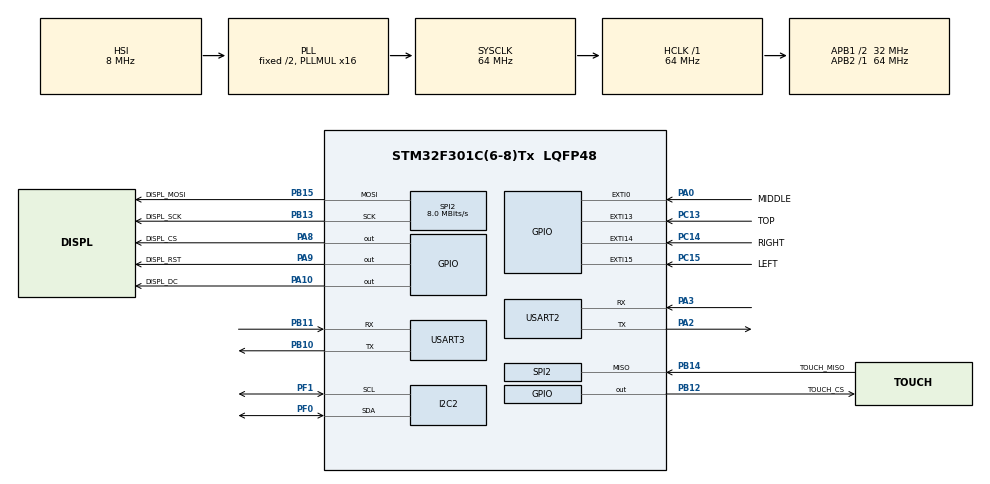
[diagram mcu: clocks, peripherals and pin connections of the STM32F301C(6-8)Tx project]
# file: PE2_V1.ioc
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Mcu.Family=STM32F3
Mcu.Name=STM32F301C(6-8)Tx
Mcu.Package=LQFP48
NVIC.EXTI0_IRQn=true\:0\:0\:false\:false\:true\:true\:true\:true
NVIC.EXTI15_10_IRQn=true\:0\:0\:false\:false\:true\:true\:true\:true
NVIC.PriorityGroup=NVIC_PRIORITYGROUP_4
PA0.GPIO_Label=MIDDLE
PA0.GPIO_ModeDefaultEXTI=GPIO_MODE_IT_FALLING
PA0.GPIO_PuPd=GPIO_PULLUP
PA0.Signal=GPXTI0
PA10.GPIO_Label=DISPL_DC
PA10.Signal=GPIO_Output
PA13.Mode=Trace_Asynchronous_SW
PA13.Signal=SYS_JTMS-SWDIO
PA14.Mode=Trace_Asynchronous_SW
PA14.Signal=SYS_JTCK-SWCLK
PA2.Mode=Asynchronous
PA2.Signal=USART2_TX
PA3.Mode=Asynchronous
PA3.Signal=USART2_RX
PA8.GPIO_Label=DISPL_CS
PA8.Signal=GPIO_Output
PA9.GPIO_Label=DISPL_RST
PA9.Signal=GPIO_Output
PB10.Mode=Asynchronous
PB10.Signal=USART3_TX
PB11.Mode=Asynchronous
PB11.Signal=USART3_RX
PB12.GPIO_Label=TOUCH_CS
PB12.Signal=GPIO_Output
PB13.GPIO_Label=DISPL_SCK
PB13.Mode=Full_Duplex_Master
PB13.Signal=SPI2_SCK
PB14.GPIO_Label=TOUCH_MISO
PB14.Mode=Full_Duplex_Master
PB14.Signal=SPI2_MISO
PB15.GPIO_Label=DISPL_MOSI
PB15.Mode=Full_Duplex_Master
PB15.Signal=SPI2_MOSI
PB3.Mode=Trace_Asynchronous_SW
PB3.Signal=SYS_JTDO-TRACESWO
PC13.GPIO_Label=TOP
PC13.GPIO_ModeDefaultEXTI=GPIO_MODE_IT_FALLING
PC13.GPIO_PuPd=GPIO_PULLUP
PC13.Signal=GPXTI13
PC14\ -\ OSC32_IN.GPIO_Label=RIGHT
PC14\ -\ OSC32_IN.GPIO_ModeDefaultEXTI=GPIO_MODE_IT_FALLING
PC14\ -\ OSC32_IN.GPIO_PuPd=GPIO_PULLUP
PC14\ -\ OSC32_IN.Signal=GPXTI14
PC15\ -\ OSC32_OUT.GPIO_Label=LEFT
PC15\ -\ OSC32_OUT.GPIO_ModeDefaultEXTI=GPIO_MODE_IT_FALLING
PC15\ -\ OSC32_OUT.GPIO_PuPd=GPIO_PULLUP
PC15\ -\ OSC32_OUT.Signal=GPXTI15
PF0-OSC_IN.GPIO_Pu=GPIO_PULLUP
PF0-OSC_IN.GPIO_Speed=GPIO_SPEED_FREQ_HIGH
PF0-OSC_IN.Mode=I2C
PF0-OSC_IN.Signal=I2C2_SDA
PF1-OSC_OUT.GPIO_Pu=GPIO_PULLUP
PF1-OSC_OUT.GPIO_Speed=GPIO_SPEED_FREQ_HIGH
PF1-OSC_OUT.Mode=I2C
PF1-OSC_OUT.Signal=I2C2_SCL
ProjectManager.HeapSize=0x200
ProjectManager.StackSize=0x400
ProjectManager.TargetToolchain=STM32CubeIDE
RCC.AHBFreq_Value=64000000
RCC.APB1CLKDivider=RCC_HCLK_DIV2
RCC.APB1Freq_Value=32000000
RCC.APB1TimFreq_Value=64000000
RCC.APB2Freq_Value=64000000
RCC.APB2TimFreq_Value=64000000
RCC.CortexFreq_Value=64000000
RCC.HCLKFreq_Value=64000000
RCC.HSE_VALUE=8000000
RCC.HSI_VALUE=8000000
RCC.LSE_VALUE=32768
RCC.PLLMUL=RCC_PLL_MUL16
RCC.SYSCLKFreq_VALUE=64000000
RCC.SYSCLKSourceVirtual=RCC_SYSCLKSOURCE_PLLCLK
SPI2.BaudRatePrescaler=SPI_BAUDRATEPRESCALER_4
SPI2.CalculateBaudRate=8.0 MBits/s
SPI2.DataSize=SPI_DATASIZE_8BIT
SPI2.Direction=SPI_DIRECTION_2LINES
SPI2.Mode=SPI_MODE_MASTER
SPI2.VirtualType=VM_MASTER
USART2.VirtualMode-Asynchronous=VM_ASYNC
USART3.VirtualMode-Asynchronous=VM_ASYNC
board=custom

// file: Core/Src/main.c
/* USER CODE BEGIN Header */
/**
  ******************************************************************************
  * @file           : main.c
  * @brief          : Main program body
  ******************************************************************************
  * @attention
  *
  * Copyright (c) 2024 STMicroelectronics.
  * All rights reserved.
  *
  * This software is licensed under terms that can be found in the LICENSE file
  * in the root directory of this software component.
  * If no LICENSE file comes with this software, it is provided AS-IS.
  *
  ******************************************************************************
  */
/* USER CODE END Header */
#include "main.h"

/* USER CODE BEGIN Includes */
#include "game.h"
#include <errno.h>
#include <sys/stat.h>
#include <sys/times.h>
#include <sys/unistd.h>
#include <string.h>
#include <stdarg.h>
#include <math.h>
/* USER CODE END Includes */

I2C_HandleTypeDef hi2c2;

SPI_HandleTypeDef hspi2;

UART_HandleTypeDef huart2;
UART_HandleTypeDef huart3;

/* USER CODE BEGIN PV */

char i2cdata[2];
int16_t gx = 0;
int16_t ax = 0;
int16_t gy = 0;
int16_t ay = 0;
int16_t gz = 0;
int16_t az = 0;

float angleX = 0.0;
float angleY = 0.0;
float angleZ = 0.0;

#define ADDR_R 0xD0
#define ADDR_W 0xD1
#define REG_WHOAMI 0x75

#define REG_PWR_MGMT 0x6B
#define REG_SMPLRT_DIV 0x19
#define REG_GYRO_CONF 0x1B
#define REG_ACCEL_CONF 0x1C

#define REG_GYRO_XOUT158 0x43
#define REG_GYRO_XOUT70 0x44
#define REG_GYRO_YOUT158 0x45
#define REG_GYRO_YOUT70 0x46
#define REG_GYRO_ZOUT158 0x47
#define REG_GYRO_ZOUT70 0x48

#define REG_ACCEL_XOUT158 0x3B
#define REG_ACCEL_XOUT70 0x3C
#define REG_ACCEL_YOUT158 0x3D
#define REG_ACCEL_YOUT70 0x3E
#define REG_ACCEL_ZOUT158 0x3F
#define REG_ACCEL_ZOUT70 0x40
/* USER CODE END PV */

void SystemClock_Config(void);
static void MX_GPIO_Init(void);
static void MX_I2C2_Init(void);
static void MX_SPI2_Init(void);
static void MX_USART2_UART_Init(void);
static void MX_USART3_UART_Init(void);

/* USER CODE BEGIN 0 */
uint8_t key = 0;
int16_t angle = 90;
uint32_t millis = 0;
uint32_t premillis = 0;

int _write(int file, char *ptr, int len) {
    HAL_StatusTypeDef xStatus;
    switch (file) {
    case STDOUT_FILENO: /*stdout*/
		xStatus = HAL_UART_Transmit(&huart3, (uint8_t*)ptr, len, HAL_MAX_DELAY);
		if (xStatus != HAL_OK) {
			errno = EIO;
			return -1;
		}
        break;
    case STDERR_FILENO: /* stderr */
		xStatus = HAL_UART_Transmit(&huart3, (uint8_t*)ptr, len, HAL_MAX_DELAY);
		if (xStatus != HAL_OK) {
			errno = EIO;
			return -1;
		}
        break;
    default:
        errno = EBADF;
        return -1;
    }
    return len;
}

uint8_t read_MPU_mem(uint8_t reg_addr){
	uint8_t data;
	if(HAL_I2C_Mem_Read(&hi2c2, ADDR_R, reg_addr, 1, &data, 1, 100) == HAL_OK){
		return data;
	}
	else{
		printf("mem not read\r\n");
	}
}

void write_MPU_mem(uint8_t reg_addr, uint8_t data){
    if(HAL_I2C_Mem_Write(&hi2c2, ADDR_W, reg_addr, 1, &data, 1, 100) != HAL_OK){
        printf("mem not written\r\n");
    }
}

void read_MPU(){
	uint8_t LSByte = 1;
	uint8_t MSByte = 1;

	MSByte = read_MPU_mem(REG_GYRO_XOUT158);
	LSByte = read_MPU_mem(REG_GYRO_XOUT70);

	gx = ((int16_t)((MSByte << 8) | LSByte)) / 131 + 2;

	MSByte = read_MPU_mem(REG_GYRO_YOUT158);
	LSByte = read_MPU_mem(REG_GYRO_YOUT70);

	gy = ((int16_t)((MSByte << 8) | LSByte)) / 131;

	MSByte = read_MPU_mem(REG_GYRO_ZOUT158);
	LSByte = read_MPU_mem(REG_GYRO_ZOUT70);

	gz = ((int16_t)((MSByte << 8) | LSByte)) / 131 + 1;

	MSByte = read_MPU_mem(REG_ACCEL_XOUT158);
	LSByte = read_MPU_mem(REG_ACCEL_XOUT70);

	ax = ((int16_t)((MSByte << 8) | LSByte)) / 16384;

	MSByte = read_MPU_mem(REG_ACCEL_YOUT158);
	LSByte = read_MPU_mem(REG_ACCEL_YOUT70);

	ay = ((int16_t)((MSByte << 8) | LSByte)) / 16384;

	MSByte = read_MPU_mem(REG_ACCEL_ZOUT158);
	LSByte = read_MPU_mem(REG_ACCEL_ZOUT70);

	az = ((int16_t)((MSByte << 8) | LSByte)) / 16384;
}

static float wrap(float angle,float limit){
  while (angle >  limit) angle -= 2*limit;
  while (angle < -limit) angle += 2*limit;
  return angle;
}

void update_MPU_vars(){
	read_MPU();

	float sgZ = az<0 ? -1 : 1; // allow one angle to go from -180 to +180 degrees
	float angleAccX =   atan2(ay, sgZ*sqrt(az*az + ax*ax)) * 57.29578 ; // [-180,+180] deg
	float angleAccY = - atan2(ax,     sqrt(az*az + ax*ay)) * 57.29578 ; // [- 90,+ 90] deg

	uint32_t mil = millis = HAL_GetTick();;
	float dt = (mil - premillis) * 1e-3;
	premillis = mil;

	angleX = wrap(0.98*(angleAccX + wrap(angleX + gx*dt - angleAccX,180)) + (1.0 - 0.98)*angleAccX,180);
	angleY = wrap(0.98*(angleAccY + wrap(angleY + sgZ*gy*dt - angleAccY, 90)) + (1.0 - 0.98)*angleAccY, 90);
	angleZ += gz*dt;
}
void init_MPU(){
	write_MPU_mem(REG_PWR_MGMT, 0);
	write_MPU_mem(REG_SMPLRT_DIV,0x07);
	write_MPU_mem(REG_GYRO_CONF, 0);
	write_MPU_mem(REG_ACCEL_CONF, 0);
}

/* USER CODE END 0 */

int main(void)
{

  /* MCU Configuration--------------------------------------------------------*/

  /* Reset of all peripherals, Initializes the Flash interface and the Systick. */
  HAL_Init();

  /* Configure the system clock */
  SystemClock_Config();

  /* Initialize all configured peripherals */
  MX_GPIO_Init();
  MX_I2C2_Init();
  MX_SPI2_Init();
  MX_USART2_UART_Init();
  MX_USART3_UART_Init();
  /* USER CODE BEGIN 2 */

  if(HAL_I2C_IsDeviceReady(&hi2c2, ADDR_R, 1, 100) == HAL_OK){
	  printf("succesfully communicated\n\r");
	  init_MPU();
  }
  else{
	  printf("i2C not found\n\r");
  }
  float factor = 1;

  Displ_Init(Displ_Orientat_90);       // initialize the display and set the initial display orientation (here is orientaton: 0°) - THIS FUNCTION MUST PRECEED ANY OTHER DISPLAY FUNCTION CALL.
  Displ_CLS(BLACK);           // after initialization (above) and before turning on backlight (below), you can draw the initial display appearance. (here I'm just clearing display with a black background)

  for (int y = 0; y < 10; y++) {
      for (int x = 0; x < 10; x++) {
          for (int j = 0; j < 10; j++) {
              for (int i = 0; i < 32; i++) {
                  if (i < 2 || j < 2) {
                      Displ_Pixel((x*32) + i, (y*10) + j, D_GREEN);
                  } else {
                      Displ_Pixel((x*32) + i, (y*10) + j, GREEN);
                  }

              }
          }
      }

  }

  for (int j = 0; j < 3; j++) {
      for (int i = 0; i < 90; i++) {
          Displ_Pixel((320/2) - 45 + i, 240 - 5 + j, RED);
      }
  }
  /* USER CODE END 2 */

  /* Infinite loop */
  while (1)
  {

    /* USER CODE BEGIN 3 */
//      HAL_Delay(100);
//      update_MPU_vars();
//      printf("angleX:%d, angleY:%d, angleZ:%d\n\r",(int16_t)angleX,(int16_t)angleY,(int16_t)angleZ);
//      if ((int16_t)angleX > 20){
//          printf("going right\r\n");
//      }
//      else if ((int16_t)angleX < -20){
//          printf("going left\r\n");
//      }
//      else{
//          printf("level\r\n");
//      }

  }
  /* USER CODE END 3 */
}

void SystemClock_Config(void)
{
  RCC_OscInitTypeDef RCC_OscInitStruct = {0};
  RCC_ClkInitTypeDef RCC_ClkInitStruct = {0};
  RCC_PeriphCLKInitTypeDef PeriphClkInit = {0};

  /** Initializes the RCC Oscillators according to the specified parameters
  * in the RCC_OscInitTypeDef structure.
  */
  RCC_OscInitStruct.OscillatorType = RCC_OSCILLATORTYPE_HSI;
  RCC_OscInitStruct.HSIState = RCC_HSI_ON;
  RCC_OscInitStruct.HSICalibrationValue = RCC_HSICALIBRATION_DEFAULT;
  RCC_OscInitStruct.PLL.PLLState = RCC_PLL_ON;
  RCC_OscInitStruct.PLL.PLLSource = RCC_PLLSOURCE_HSI;
  RCC_OscInitStruct.PLL.PLLMUL = RCC_PLL_MUL16;
  if (HAL_RCC_OscConfig(&RCC_OscInitStruct) != HAL_OK)
  {
    Error_Handler();
  }

  /** Initializes the CPU, AHB and APB buses clocks
  */
  RCC_ClkInitStruct.ClockType = RCC_CLOCKTYPE_HCLK|RCC_CLOCKTYPE_SYSCLK
                              |RCC_CLOCKTYPE_PCLK1|RCC_CLOCKTYPE_PCLK2;
  RCC_ClkInitStruct.SYSCLKSource = RCC_SYSCLKSOURCE_PLLCLK;
  RCC_ClkInitStruct.AHBCLKDivider = RCC_SYSCLK_DIV1;
  RCC_ClkInitStruct.APB1CLKDivider = RCC_HCLK_DIV2;
  RCC_ClkInitStruct.APB2CLKDivider = RCC_HCLK_DIV1;

  if (HAL_RCC_ClockConfig(&RCC_ClkInitStruct, FLASH_LATENCY_2) != HAL_OK)
  {
    Error_Handler();
  }
  PeriphClkInit.PeriphClockSelection = RCC_PERIPHCLK_I2C2;
  PeriphClkInit.I2c2ClockSelection = RCC_I2C2CLKSOURCE_HSI;
  if (HAL_RCCEx_PeriphCLKConfig(&PeriphClkInit) != HAL_OK)
  {
    Error_Handler();
  }
}

static void MX_I2C2_Init(void)
{

  hi2c2.Instance = I2C2;
  hi2c2.Init.Timing = 0x2000090E;
  hi2c2.Init.OwnAddress1 = 0;
  hi2c2.Init.AddressingMode = I2C_ADDRESSINGMODE_7BIT;
  hi2c2.Init.DualAddressMode = I2C_DUALADDRESS_DISABLE;
  hi2c2.Init.OwnAddress2 = 0;
  hi2c2.Init.OwnAddress2Masks = I2C_OA2_NOMASK;
  hi2c2.Init.GeneralCallMode = I2C_GENERALCALL_DISABLE;
  hi2c2.Init.NoStretchMode = I2C_NOSTRETCH_DISABLE;
  if (HAL_I2C_Init(&hi2c2) != HAL_OK)
  {
    Error_Handler();
  }

  /** Configure Analogue filter
  */
  if (HAL_I2CEx_ConfigAnalogFilter(&hi2c2, I2C_ANALOGFILTER_ENABLE) != HAL_OK)
  {
    Error_Handler();
  }

  /** Configure Digital filter
  */
  if (HAL_I2CEx_ConfigDigitalFilter(&hi2c2, 0) != HAL_OK)
  {
    Error_Handler();
  }

}

static void MX_SPI2_Init(void)
{

  /* SPI2 parameter configuration*/
  hspi2.Instance = SPI2;
  hspi2.Init.Mode = SPI_MODE_MASTER;
  hspi2.Init.Direction = SPI_DIRECTION_2LINES;
  hspi2.Init.DataSize = SPI_DATASIZE_8BIT;
  hspi2.Init.CLKPolarity = SPI_POLARITY_LOW;
  hspi2.Init.CLKPhase = SPI_PHASE_1EDGE;
  hspi2.Init.NSS = SPI_NSS_SOFT;
  hspi2.Init.BaudRatePrescaler = SPI_BAUDRATEPRESCALER_4;
  hspi2.Init.FirstBit = SPI_FIRSTBIT_MSB;
  hspi2.Init.TIMode = SPI_TIMODE_DISABLE;
  hspi2.Init.CRCCalculation = SPI_CRCCALCULATION_DISABLE;
  hspi2.Init.CRCPolynomial = 7;
  hspi2.Init.CRCLength = SPI_CRC_LENGTH_DATASIZE;
  hspi2.Init.NSSPMode = SPI_NSS_PULSE_ENABLE;
  if (HAL_SPI_Init(&hspi2) != HAL_OK)
  {
    Error_Handler();
  }

}

static void MX_USART2_UART_Init(void)
{

  huart2.Instance = USART2;
  huart2.Init.BaudRate = 38400;
  huart2.Init.WordLength = UART_WORDLENGTH_8B;
  huart2.Init.StopBits = UART_STOPBITS_1;
  huart2.Init.Parity = UART_PARITY_NONE;
  huart2.Init.Mode = UART_MODE_TX_RX;
  huart2.Init.HwFlowCtl = UART_HWCONTROL_NONE;
  huart2.Init.OverSampling = UART_OVERSAMPLING_16;
  huart2.Init.OneBitSampling = UART_ONE_BIT_SAMPLE_DISABLE;
  huart2.AdvancedInit.AdvFeatureInit = UART_ADVFEATURE_NO_INIT;
  if (HAL_UART_Init(&huart2) != HAL_OK)
  {
    Error_Handler();
  }

}

static void MX_USART3_UART_Init(void)
{

  huart3.Instance = USART3;
  huart3.Init.BaudRate = 38400;
  huart3.Init.WordLength = UART_WORDLENGTH_8B;
  huart3.Init.StopBits = UART_STOPBITS_1;
  huart3.Init.Parity = UART_PARITY_NONE;
  huart3.Init.Mode = UART_MODE_TX_RX;
  huart3.Init.HwFlowCtl = UART_HWCONTROL_NONE;
  huart3.Init.OverSampling = UART_OVERSAMPLING_16;
  huart3.Init.OneBitSampling = UART_ONE_BIT_SAMPLE_DISABLE;
  huart3.AdvancedInit.AdvFeatureInit = UART_ADVFEATURE_NO_INIT;
  if (HAL_UART_Init(&huart3) != HAL_OK)
  {
    Error_Handler();
  }

}

static void MX_GPIO_Init(void)
{
  GPIO_InitTypeDef GPIO_InitStruct = {0};

  /* GPIO Ports Clock Enable */
  __HAL_RCC_GPIOC_CLK_ENABLE();
  __HAL_RCC_GPIOF_CLK_ENABLE();
  __HAL_RCC_GPIOA_CLK_ENABLE();
  __HAL_RCC_GPIOB_CLK_ENABLE();

  /*Configure GPIO pin Output Level */
  HAL_GPIO_WritePin(TOUCH_CS_GPIO_Port, TOUCH_CS_Pin, GPIO_PIN_RESET);

  /*Configure GPIO pin Output Level */
  HAL_GPIO_WritePin(GPIOA, DISPL_CS_Pin|DISPL_RST_Pin|DISPL_DC_Pin, GPIO_PIN_RESET);

  /*Configure GPIO pins : TOP_Pin RIGHT_Pin LEFT_Pin */
  GPIO_InitStruct.Pin = TOP_Pin|RIGHT_Pin|LEFT_Pin;
  GPIO_InitStruct.Mode = GPIO_MODE_IT_FALLING;
  GPIO_InitStruct.Pull = GPIO_PULLUP;
  HAL_GPIO_Init(GPIOC, &GPIO_InitStruct);

  /*Configure GPIO pin : MIDDLE_Pin */
  GPIO_InitStruct.Pin = MIDDLE_Pin;
  GPIO_InitStruct.Mode = GPIO_MODE_IT_FALLING;
  GPIO_InitStruct.Pull = GPIO_PULLUP;
  HAL_GPIO_Init(MIDDLE_GPIO_Port, &GPIO_InitStruct);

  /*Configure GPIO pin : TOUCH_CS_Pin */
  GPIO_InitStruct.Pin = TOUCH_CS_Pin;
  GPIO_InitStruct.Mode = GPIO_MODE_OUTPUT_PP;
  GPIO_InitStruct.Pull = GPIO_NOPULL;
  GPIO_InitStruct.Speed = GPIO_SPEED_FREQ_LOW;
  HAL_GPIO_Init(TOUCH_CS_GPIO_Port, &GPIO_InitStruct);

  /*Configure GPIO pins : DISPL_CS_Pin DISPL_RST_Pin DISPL_DC_Pin */
  GPIO_InitStruct.Pin = DISPL_CS_Pin|DISPL_RST_Pin|DISPL_DC_Pin;
  GPIO_InitStruct.Mode = GPIO_MODE_OUTPUT_PP;
  GPIO_InitStruct.Pull = GPIO_NOPULL;
  GPIO_InitStruct.Speed = GPIO_SPEED_FREQ_LOW;
  HAL_GPIO_Init(GPIOA, &GPIO_InitStruct);

  /* EXTI interrupt init*/
  HAL_NVIC_SetPriority(EXTI0_IRQn, 0, 0);
  HAL_NVIC_EnableIRQ(EXTI0_IRQn);

  HAL_NVIC_SetPriority(EXTI15_10_IRQn, 0, 0);
  HAL_NVIC_EnableIRQ(EXTI15_10_IRQn);

}

/* USER CODE BEGIN 4 */
void HAL_GPIO_EXTI_Callback(uint16_t GPIO_Pin){
	printf("interupt!\r\n");
	if(GPIO_Pin == LEFT_Pin){
		key = left;
		printf("left clicked\r\n");
	}
	else if(GPIO_Pin == TOP_Pin){
		key = up;
		printf("up clicked\r\n");
	}
	else if(GPIO_Pin == RIGHT_Pin){
		key = right;
		printf("right clicked\r\n");
	}
	else if(GPIO_Pin == MIDDLE_Pin){
		key = down;
		printf("down clicked\r\n");
	}
}
/* USER CODE END 4 */

void Error_Handler(void)
{
  __disable_irq();
  while (1)
  {
  }
}
